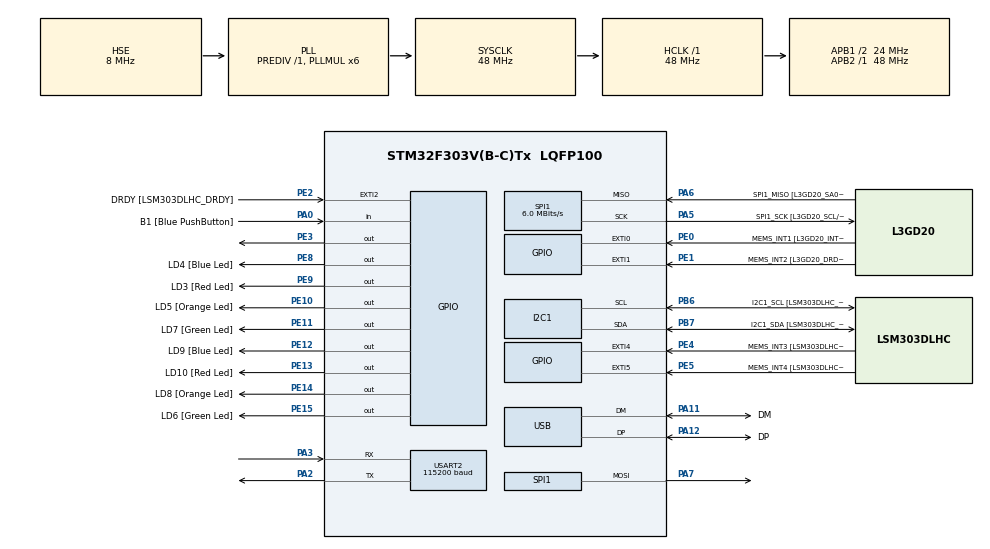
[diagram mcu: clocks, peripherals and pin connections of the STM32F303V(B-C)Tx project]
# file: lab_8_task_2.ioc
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I2C1.Timing=0x2000090E
I2C1.Timing-I2C=0x2000090E
Mcu.Family=STM32F3
Mcu.Name=STM32F303V(B-C)Tx
Mcu.Package=LQFP100
NVIC.PriorityGroup=NVIC_PRIORITYGROUP_0
NVIC.SPI1_IRQn=true\:0\:0\:false\:false\:true\:true\:true\:true
PA0.GPIO_Label=B1 [Blue PushButton]
PA0.Signal=GPIO_Input
PA11.GPIO_Label=DM
PA11.Mode=Device
PA11.Signal=USB_DM
PA12.GPIO_Label=DP
PA12.Mode=Device
PA12.Signal=USB_DP
PA13.GPIO_Label=SWDIO
PA13.Mode=Serial_Wire
PA13.Signal=SYS_JTMS-SWDIO
PA14.GPIO_Label=SWCLK
PA14.Mode=Serial_Wire
PA14.Signal=SYS_JTCK-SWCLK
PA2.Mode=Asynchronous
PA2.Signal=USART2_TX
PA3.Mode=Asynchronous
PA3.Signal=USART2_RX
PA5.GPIO_Label=SPI1_SCK [L3GD20_SCL/SPC]
PA5.Mode=Full_Duplex_Master
PA5.Signal=SPI1_SCK
PA6.GPIO_Label=SPI1_MISO [L3GD20_SA0/SDO]
PA6.Mode=Full_Duplex_Master
PA6.Signal=SPI1_MISO
PA7.Mode=Full_Duplex_Master
PA7.Signal=SPI1_MOSI
PB3.GPIO_Label=SWO
PB3.Signal=SYS_JTDO-TRACESWO
PB6.GPIO_Label=I2C1_SCL [LSM303DLHC_SCL]
PB6.GPIO_Pu=GPIO_PULLUP
PB6.Mode=I2C
PB6.Signal=I2C1_SCL
PB7.GPIO_Label=I2C1_SDA [LSM303DLHC_SDA]
PB7.GPIO_Pu=GPIO_PULLUP
PB7.Mode=I2C
PB7.Signal=I2C1_SDA
PC14-OSC32_IN.GPIO_Label=OSC32_IN
PC14-OSC32_IN.Signal=RCC_OSC32_IN
PC15-OSC32_OUT.GPIO_Label=OSC32_OUT
PC15-OSC32_OUT.Signal=RCC_OSC32_OUT
PE0.GPIO_Label=MEMS_INT1 [L3GD20_INT1]
PE0.GPIO_ModeDefaultEXTI=GPIO_MODE_EVT_RISING
PE0.Signal=GPXTI0
PE1.GPIO_Label=MEMS_INT2 [L3GD20_DRDY/INT2]
PE1.GPIO_ModeDefaultEXTI=GPIO_MODE_EVT_RISING
PE1.Signal=GPXTI1
PE10.GPIO_Label=LD5 [Orange Led]
PE10.Signal=GPIO_Output
PE11.GPIO_Label=LD7 [Green Led]
PE11.Signal=GPIO_Output
PE12.GPIO_Label=LD9 [Blue Led]
PE12.Signal=GPIO_Output
PE13.GPIO_Label=LD10 [Red Led]
PE13.Signal=GPIO_Output
PE14.GPIO_Label=LD8 [Orange Led]
PE14.Signal=GPIO_Output
PE15.GPIO_Label=LD6 [Green Led]
PE15.Signal=GPIO_Output
PE2.GPIO_Label=DRDY [LSM303DLHC_DRDY]
PE2.GPIO_ModeDefaultEXTI=GPIO_MODE_EVT_RISING
PE2.Signal=GPXTI2
PE3.Signal=GPIO_Output
PE4.GPIO_Label=MEMS_INT3 [LSM303DLHC_INT1]
PE4.GPIO_ModeDefaultEXTI=GPIO_MODE_EVT_RISING
PE4.Signal=GPXTI4
PE5.GPIO_Label=MEMS_INT4 [LSM303DLHC_INT2]
PE5.GPIO_ModeDefaultEXTI=GPIO_MODE_EVT_RISING
PE5.Signal=GPXTI5
PE8.GPIO_Label=LD4 [Blue Led]
PE8.Signal=GPIO_Output
PE9.GPIO_Label=LD3 [Red Led]
PE9.Signal=GPIO_Output
PF0-OSC_IN.GPIO_Label=OSC_IN
PF0-OSC_IN.Mode=HSE-External-Clock-Source
PF0-OSC_IN.Signal=RCC_OSC_IN
PF1-OSC_OUT.GPIO_Label=OSC_OUT
PF1-OSC_OUT.Signal=RCC_OSC_OUT
ProjectManager.HeapSize=0x200
ProjectManager.StackSize=0x400
ProjectManager.TargetToolchain=CMake
RCC.AHBFreq_Value=48000000
RCC.APB1CLKDivider=RCC_HCLK_DIV2
RCC.APB1Freq_Value=24000000
RCC.APB1TimFreq_Value=48000000
RCC.APB2Freq_Value=48000000
RCC.APB2TimFreq_Value=48000000
RCC.CortexFreq_Value=48000000
RCC.HCLKFreq_Value=48000000
RCC.HSE_VALUE=8000000
RCC.HSI_VALUE=8000000
RCC.LSE_VALUE=32768
RCC.PLLMUL=RCC_PLL_MUL6
RCC.SYSCLKFreq_VALUE=48000000
RCC.SYSCLKSourceVirtual=RCC_SYSCLKSOURCE_PLLCLK
RCC.USBFreq_Value=48000000
SPI1.BaudRatePrescaler=SPI_BAUDRATEPRESCALER_8
SPI1.CLKPhase=SPI_PHASE_2EDGE
SPI1.CLKPolarity=SPI_POLARITY_HIGH
SPI1.CalculateBaudRate=6.0 MBits/s
SPI1.DataSize=SPI_DATASIZE_8BIT
SPI1.Direction=SPI_DIRECTION_2LINES
SPI1.Mode=SPI_MODE_MASTER
SPI1.VirtualType=VM_MASTER
USART2.BaudRate=115200
USART2.VirtualMode-Asynchronous=VM_ASYNC
board=STM32F3DISCOVERY

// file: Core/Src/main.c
/* USER CODE BEGIN Header */
/**
  ******************************************************************************
  * @file           : main.c
  * @brief          : Main program body
  ******************************************************************************
  * @attention
  *
  * Copyright (c) 2026 STMicroelectronics.
  * All rights reserved.
  *
  * This software is licensed under terms that can be found in the LICENSE file
  * in the root directory of this software component.
  * If no LICENSE file comes with this software, it is provided AS-IS.
  *
  ******************************************************************************
  */
/* USER CODE END Header */
#include "main.h"

/* USER CODE BEGIN Includes */
#include <stdio.h>
#include <string.h>
/* USER CODE END Includes */

I2C_HandleTypeDef hi2c1;

SPI_HandleTypeDef hspi1;

UART_HandleTypeDef huart2;

PCD_HandleTypeDef hpcd_USB_FS;

/* USER CODE BEGIN PV */
volatile uint8_t spi_busy = 0;
volatile uint8_t temp_ready = 0;
volatile uint8_t spi_error = 0;

uint8_t temp_cmd = 0xA6;
uint8_t temp_raw = 0;

/* USER CODE END PV */

void SystemClock_Config(void);
static void MX_GPIO_Init(void);
static void MX_I2C1_Init(void);
static void MX_SPI1_Init(void);
static void MX_USART2_UART_Init(void);
static void MX_USB_PCD_Init(void);

/* USER CODE BEGIN 0 */
#define CTRL_REG1 0x20
#define CTRL_REG1_VAL 0x0F
// Initialize the gyroscope once
void Gyro_Init(void)
{
    uint8_t tx[2] = {CTRL_REG1, CTRL_REG1_VAL};

    HAL_GPIO_WritePin(GPIOE, GPIO_PIN_3, GPIO_PIN_RESET);

    HAL_SPI_Transmit(&hspi1, tx, 2, HAL_MAX_DELAY);

    HAL_GPIO_WritePin(GPIOE, GPIO_PIN_3, GPIO_PIN_SET);}

// Called when command transmission finishes
void HAL_SPI_TxCpltCallback(SPI_HandleTypeDef *hspi)
{
    if (hspi->Instance == SPI1)
    {
        // Start receiving temperature using interrupt
        if (HAL_SPI_Receive_IT(&hspi1, &temp_raw, 1) != HAL_OK)
        {
            HAL_GPIO_WritePin(GPIOE, GPIO_PIN_3, GPIO_PIN_SET);
            spi_busy = 0;
            spi_error = 1;
        }
    }
}

// Called when temperature reception finishes
void HAL_SPI_RxCpltCallback(SPI_HandleTypeDef *hspi)
{
    if (hspi->Instance == SPI1)
    {
        HAL_GPIO_WritePin(GPIOE, GPIO_PIN_3, GPIO_PIN_SET);

        spi_busy = 0;
        temp_ready = 1;
    }
}

// Handle SPI communication errors
void HAL_SPI_ErrorCallback(SPI_HandleTypeDef *hspi)
{
    if (hspi->Instance == SPI1)
    {
        HAL_GPIO_WritePin(GPIOE, GPIO_PIN_3, GPIO_PIN_SET);
        spi_busy = 0;
        spi_error = 1;
    }
}
/* USER CODE END 0 */

int main(void)
{

  /* MCU Configuration--------------------------------------------------------*/

  /* Reset of all peripherals, Initializes the Flash interface and the Systick. */
  HAL_Init();

  /* Configure the system clock */
  SystemClock_Config();

  /* Initialize all configured peripherals */
  MX_GPIO_Init();
  MX_I2C1_Init();
  MX_SPI1_Init();
  MX_USART2_UART_Init();
  MX_USB_PCD_Init();
  /* USER CODE BEGIN 2 */
  HAL_GPIO_WritePin(GPIOE, GPIO_PIN_3, GPIO_PIN_SET);

Gyro_Init();

HAL_Delay(100);

  /* USER CODE END 2 */

  /* Infinite loop */
  while (1)
  {

    /* USER CODE BEGIN 3 */
    if (temp_ready)
{
    temp_ready = 0;

    int8_t temperature = (int8_t)temp_raw;
    char msg[40];
    int len = snprintf(msg, sizeof(msg),"%d\r\n", (int)temperature);
    if (len > 0)
    {HAL_UART_Transmit(&huart2, (uint8_t*)msg,(uint16_t)len, HAL_MAX_DELAY);
    }
}

if (spi_error)
{
    spi_error = 0;

    char msg[] = "SPI Error\r\n";
    HAL_UART_Transmit(&huart2, (uint8_t*)msg,sizeof(msg) - 1, HAL_MAX_DELAY);
}

// Start another interrupt-based SPI read
if (!spi_busy)
{
    spi_busy = 1;
    HAL_GPIO_WritePin(GPIOE, GPIO_PIN_3, GPIO_PIN_RESET);
    if (HAL_SPI_Transmit_IT(&hspi1, &temp_cmd, 1) != HAL_OK)
    { HAL_GPIO_WritePin(GPIOE, GPIO_PIN_3, GPIO_PIN_SET);
       spi_busy = 0;
       spi_error = 1;
    }
}
HAL_Delay(150);
  }
  /* USER CODE END 3 */
}

void SystemClock_Config(void)
{
  RCC_OscInitTypeDef RCC_OscInitStruct = {0};
  RCC_ClkInitTypeDef RCC_ClkInitStruct = {0};
  RCC_PeriphCLKInitTypeDef PeriphClkInit = {0};

  /** Initializes the RCC Oscillators according to the specified parameters
  * in the RCC_OscInitTypeDef structure.
  */
  RCC_OscInitStruct.OscillatorType = RCC_OSCILLATORTYPE_HSI|RCC_OSCILLATORTYPE_HSE;
  RCC_OscInitStruct.HSEState = RCC_HSE_BYPASS;
  RCC_OscInitStruct.HSEPredivValue = RCC_HSE_PREDIV_DIV1;
  RCC_OscInitStruct.HSIState = RCC_HSI_ON;
  RCC_OscInitStruct.HSICalibrationValue = RCC_HSICALIBRATION_DEFAULT;
  RCC_OscInitStruct.PLL.PLLState = RCC_PLL_ON;
  RCC_OscInitStruct.PLL.PLLSource = RCC_PLLSOURCE_HSE;
  RCC_OscInitStruct.PLL.PLLMUL = RCC_PLL_MUL6;
  if (HAL_RCC_OscConfig(&RCC_OscInitStruct) != HAL_OK)
  {
    Error_Handler();
  }

  /** Initializes the CPU, AHB and APB buses clocks
  */
  RCC_ClkInitStruct.ClockType = RCC_CLOCKTYPE_HCLK|RCC_CLOCKTYPE_SYSCLK
                              |RCC_CLOCKTYPE_PCLK1|RCC_CLOCKTYPE_PCLK2;
  RCC_ClkInitStruct.SYSCLKSource = RCC_SYSCLKSOURCE_PLLCLK;
  RCC_ClkInitStruct.AHBCLKDivider = RCC_SYSCLK_DIV1;
  RCC_ClkInitStruct.APB1CLKDivider = RCC_HCLK_DIV2;
  RCC_ClkInitStruct.APB2CLKDivider = RCC_HCLK_DIV1;

  if (HAL_RCC_ClockConfig(&RCC_ClkInitStruct, FLASH_LATENCY_1) != HAL_OK)
  {
    Error_Handler();
  }
  PeriphClkInit.PeriphClockSelection = RCC_PERIPHCLK_USB|RCC_PERIPHCLK_USART2
                              |RCC_PERIPHCLK_I2C1;
  PeriphClkInit.Usart2ClockSelection = RCC_USART2CLKSOURCE_PCLK1;
  PeriphClkInit.I2c1ClockSelection = RCC_I2C1CLKSOURCE_HSI;
  PeriphClkInit.USBClockSelection = RCC_USBCLKSOURCE_PLL;
  if (HAL_RCCEx_PeriphCLKConfig(&PeriphClkInit) != HAL_OK)
  {
    Error_Handler();
  }
}

static void MX_I2C1_Init(void)
{

  hi2c1.Instance = I2C1;
  hi2c1.Init.Timing = 0x2000090E;
  hi2c1.Init.OwnAddress1 = 0;
  hi2c1.Init.AddressingMode = I2C_ADDRESSINGMODE_7BIT;
  hi2c1.Init.DualAddressMode = I2C_DUALADDRESS_DISABLE;
  hi2c1.Init.OwnAddress2 = 0;
  hi2c1.Init.OwnAddress2Masks = I2C_OA2_NOMASK;
  hi2c1.Init.GeneralCallMode = I2C_GENERALCALL_DISABLE;
  hi2c1.Init.NoStretchMode = I2C_NOSTRETCH_DISABLE;
  if (HAL_I2C_Init(&hi2c1) != HAL_OK)
  {
    Error_Handler();
  }

  /** Configure Analogue filter
  */
  if (HAL_I2CEx_ConfigAnalogFilter(&hi2c1, I2C_ANALOGFILTER_ENABLE) != HAL_OK)
  {
    Error_Handler();
  }

  /** Configure Digital filter
  */
  if (HAL_I2CEx_ConfigDigitalFilter(&hi2c1, 0) != HAL_OK)
  {
    Error_Handler();
  }

}

static void MX_SPI1_Init(void)
{

  /* SPI1 parameter configuration*/
  hspi1.Instance = SPI1;
  hspi1.Init.Mode = SPI_MODE_MASTER;
  hspi1.Init.Direction = SPI_DIRECTION_2LINES;
  hspi1.Init.DataSize = SPI_DATASIZE_8BIT;
  hspi1.Init.CLKPolarity = SPI_POLARITY_HIGH;
  hspi1.Init.CLKPhase = SPI_PHASE_2EDGE;
  hspi1.Init.NSS = SPI_NSS_SOFT;
  hspi1.Init.BaudRatePrescaler = SPI_BAUDRATEPRESCALER_8;
  hspi1.Init.FirstBit = SPI_FIRSTBIT_MSB;
  hspi1.Init.TIMode = SPI_TIMODE_DISABLE;
  hspi1.Init.CRCCalculation = SPI_CRCCALCULATION_DISABLE;
  hspi1.Init.CRCPolynomial = 7;
  hspi1.Init.CRCLength = SPI_CRC_LENGTH_DATASIZE;
  hspi1.Init.NSSPMode = SPI_NSS_PULSE_DISABLE;
  if (HAL_SPI_Init(&hspi1) != HAL_OK)
  {
    Error_Handler();
  }

}

static void MX_USART2_UART_Init(void)
{

  huart2.Instance = USART2;
  huart2.Init.BaudRate = 115200;
  huart2.Init.WordLength = UART_WORDLENGTH_8B;
  huart2.Init.StopBits = UART_STOPBITS_1;
  huart2.Init.Parity = UART_PARITY_NONE;
  huart2.Init.Mode = UART_MODE_TX_RX;
  huart2.Init.HwFlowCtl = UART_HWCONTROL_NONE;
  huart2.Init.OverSampling = UART_OVERSAMPLING_16;
  huart2.Init.OneBitSampling = UART_ONE_BIT_SAMPLE_DISABLE;
  huart2.AdvancedInit.AdvFeatureInit = UART_ADVFEATURE_NO_INIT;
  if (HAL_UART_Init(&huart2) != HAL_OK)
  {
    Error_Handler();
  }

}

static void MX_USB_PCD_Init(void)
{

  hpcd_USB_FS.Instance = USB;
  hpcd_USB_FS.Init.dev_endpoints = 8;
  hpcd_USB_FS.Init.speed = PCD_SPEED_FULL;
  hpcd_USB_FS.Init.phy_itface = PCD_PHY_EMBEDDED;
  hpcd_USB_FS.Init.low_power_enable = DISABLE;
  hpcd_USB_FS.Init.battery_charging_enable = DISABLE;
  if (HAL_PCD_Init(&hpcd_USB_FS) != HAL_OK)
  {
    Error_Handler();
  }

}

static void MX_GPIO_Init(void)
{
  GPIO_InitTypeDef GPIO_InitStruct = {0};

  /* GPIO Ports Clock Enable */
  __HAL_RCC_GPIOE_CLK_ENABLE();
  __HAL_RCC_GPIOC_CLK_ENABLE();
  __HAL_RCC_GPIOF_CLK_ENABLE();
  __HAL_RCC_GPIOA_CLK_ENABLE();
  __HAL_RCC_GPIOB_CLK_ENABLE();

  /*Configure GPIO pin Output Level */
  HAL_GPIO_WritePin(GPIOE, GPIO_PIN_3|LD4_Pin|LD3_Pin|LD5_Pin
                          |LD7_Pin|LD9_Pin|LD10_Pin|LD8_Pin
                          |LD6_Pin, GPIO_PIN_RESET);

  /*Configure GPIO pins : DRDY_Pin MEMS_INT3_Pin MEMS_INT4_Pin MEMS_INT1_Pin
                           MEMS_INT2_Pin */
  GPIO_InitStruct.Pin = DRDY_Pin|MEMS_INT3_Pin|MEMS_INT4_Pin|MEMS_INT1_Pin
                          |MEMS_INT2_Pin;
  GPIO_InitStruct.Mode = GPIO_MODE_EVT_RISING;
  GPIO_InitStruct.Pull = GPIO_NOPULL;
  HAL_GPIO_Init(GPIOE, &GPIO_InitStruct);

  /*Configure GPIO pins : PE3 LD4_Pin LD3_Pin LD5_Pin
                           LD7_Pin LD9_Pin LD10_Pin LD8_Pin
                           LD6_Pin */
  GPIO_InitStruct.Pin = GPIO_PIN_3|LD4_Pin|LD3_Pin|LD5_Pin
                          |LD7_Pin|LD9_Pin|LD10_Pin|LD8_Pin
                          |LD6_Pin;
  GPIO_InitStruct.Mode = GPIO_MODE_OUTPUT_PP;
  GPIO_InitStruct.Pull = GPIO_NOPULL;
  GPIO_InitStruct.Speed = GPIO_SPEED_FREQ_LOW;
  HAL_GPIO_Init(GPIOE, &GPIO_InitStruct);

  /*Configure GPIO pin : B1_Pin */
  GPIO_InitStruct.Pin = B1_Pin;
  GPIO_InitStruct.Mode = GPIO_MODE_INPUT;
  GPIO_InitStruct.Pull = GPIO_NOPULL;
  HAL_GPIO_Init(B1_GPIO_Port, &GPIO_InitStruct);

}

void Error_Handler(void)
{
  __disable_irq();
  while (1)
  {
  }
}
